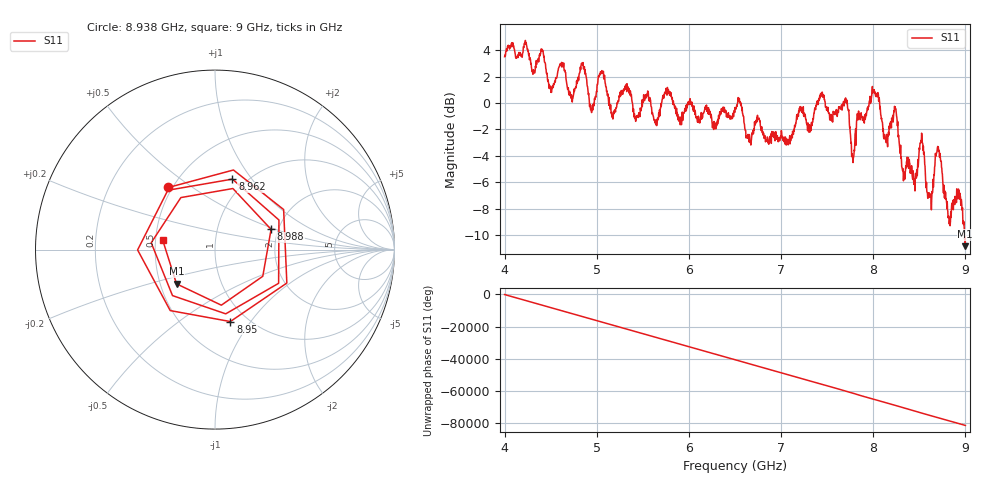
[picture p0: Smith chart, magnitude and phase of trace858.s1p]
! Created with skrf 1.8.0 (http://scikit-rf.org).
# Hz S RI R 50.0
!freq ReS11 ImS11
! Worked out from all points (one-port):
!   1601 points, 4 GHz to 9 GHz, reference 50 ohm
!   lowest |S11| = -10.8 dB at 8.997 GHz (marker M1), VSWR 1.81, Z = 30.4 - j12.6 ohm
!   |S11| at or under -10 dB: 8.989725 GHz to end of sweep
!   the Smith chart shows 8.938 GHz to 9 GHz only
!   S11 on the Smith chart (normalised r, x): 8.938 GHz: 0.48, +0.41; 8.95 GHz: 0.83, -0.80; 8.962 GHz: 0.86, +0.81; 8.988 GHz: 1.83, +0.46; 9 GHz: 0.55, +0.06
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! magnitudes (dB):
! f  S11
! 4 GHz  3.5
! 4.403 GHz  3.9
! 4.503 GHz  0.8
! 4.625 GHz  2.9
! 4.722 GHz  0.4
! 4.853 GHz  2.8
! 4.947 GHz  -0.5
! 5.047 GHz  2.2
! 5.162 GHz  -0.9
! 5.25 GHz  0.6
! 5.875 GHz  -1.0
! 6.5 GHz  -0.3
! 7.125 GHz  -2.1
! 7.441 GHz  0.8
! 7.75 GHz  -2.2
! 8.012 GHz  0.9
! 8.375 GHz  -4.8
! 8.453 GHz  -6.7
! 8.528 GHz  -2.5
! 8.616 GHz  -7.1
! 8.7 GHz  -3.3
! 8.822 GHz  -8.7
! 8.938 GHz  -7.3
! 8.95 GHz  -7.7
! 8.962 GHz  -7.9
! 8.988 GHz  -9.6
! 8.997 GHz  -10.8
! 9 GHz  -10.6
